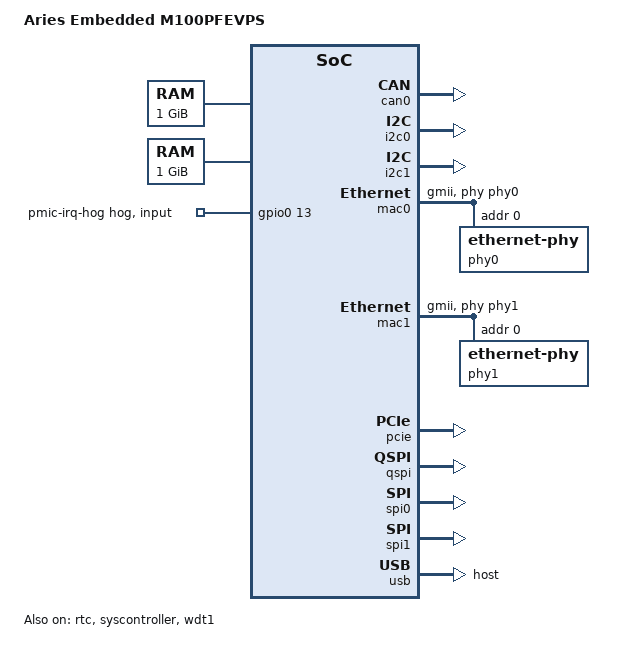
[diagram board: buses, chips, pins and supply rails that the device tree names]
// SPDX-License-Identifier: GPL-2.0
/*
 * Original all-in-one devicetree:
 * Copyright (C) 2021-2023 - Wolfgang Grandegger <wg@aries-embedded.de>
 * Rewritten to use includes:
 * Copyright (C) 2022 - Conor Dooley <conor.dooley@microchip.com>
 */
/dts-v1/;

#include "mpfs.dtsi"
#include "mpfs-m100pfs-fabric.dtsi"

/ {
	model = "Aries Embedded M100PFEVPS";
	compatible = "aries,m100pfsevp", "microchip,mpfs";

	soc {
		dma-ranges = <0 0 0 0 0x40 0>;
	};

	aliases {
		ethernet0 = &mac0;
		ethernet1 = &mac1;
		serial0 = &mmuart0;
		serial1 = &mmuart1;
		serial2 = &mmuart2;
		serial3 = &mmuart3;
		serial4 = &mmuart4;
		gpio0 = &gpio0;
		gpio1 = &gpio2;
	};

	chosen {
		stdout-path = "serial1:115200n8";
	};

	ddrc_cache_lo: memory@80000000 {
		device_type = "memory";
		reg = <0x0 0x80000000 0x0 0x40000000>;
	};
	ddrc_cache_hi: memory@1040000000 {
		device_type = "memory";
		reg = <0x10 0x40000000 0x0 0x40000000>;
	};
};

&can0 {
	status = "okay";
};

&i2c0 {
	status = "okay";
};

&i2c1 {
	status = "okay";
};

&gpio0 {
	ngpios = <14>;
	status = "okay";

	pmic-irq-hog {
		gpio-hog;
		gpios = <13 0>;
		input;
	};
};

&gpio2 {
	status = "okay";
};

&mac0 {
	status = "okay";
	phy-mode = "gmii";
	phy-handle = <&phy0>;
	phy0: ethernet-phy@0 {
		reg = <0>;
	};
};

&mac1 {
	status = "okay";
	phy-mode = "gmii";
	phy-handle = <&phy1>;
	phy1: ethernet-phy@0 {
		reg = <0>;
	};
};

&mbox {
	status = "okay";
};

&mmuart1 {
	status = "okay";
};

&mmuart2 {
	status = "okay";
};

&mmuart3 {
	status = "okay";
};

&mmuart4 {
	status = "okay";
};

&pcie {
	status = "okay";
};

&qspi {
	status = "okay";
};

&refclk {
	clock-frequency = <125000000>;
};

&rtc {
	status = "okay";
};

&spi0 {
	status = "okay";
};

&spi1 {
	status = "okay";
};

&syscontroller {
	status = "okay";
};

&usb {
	status = "okay";
	dr_mode = "host";
};

&wdt1 {
	status = "okay";
};
